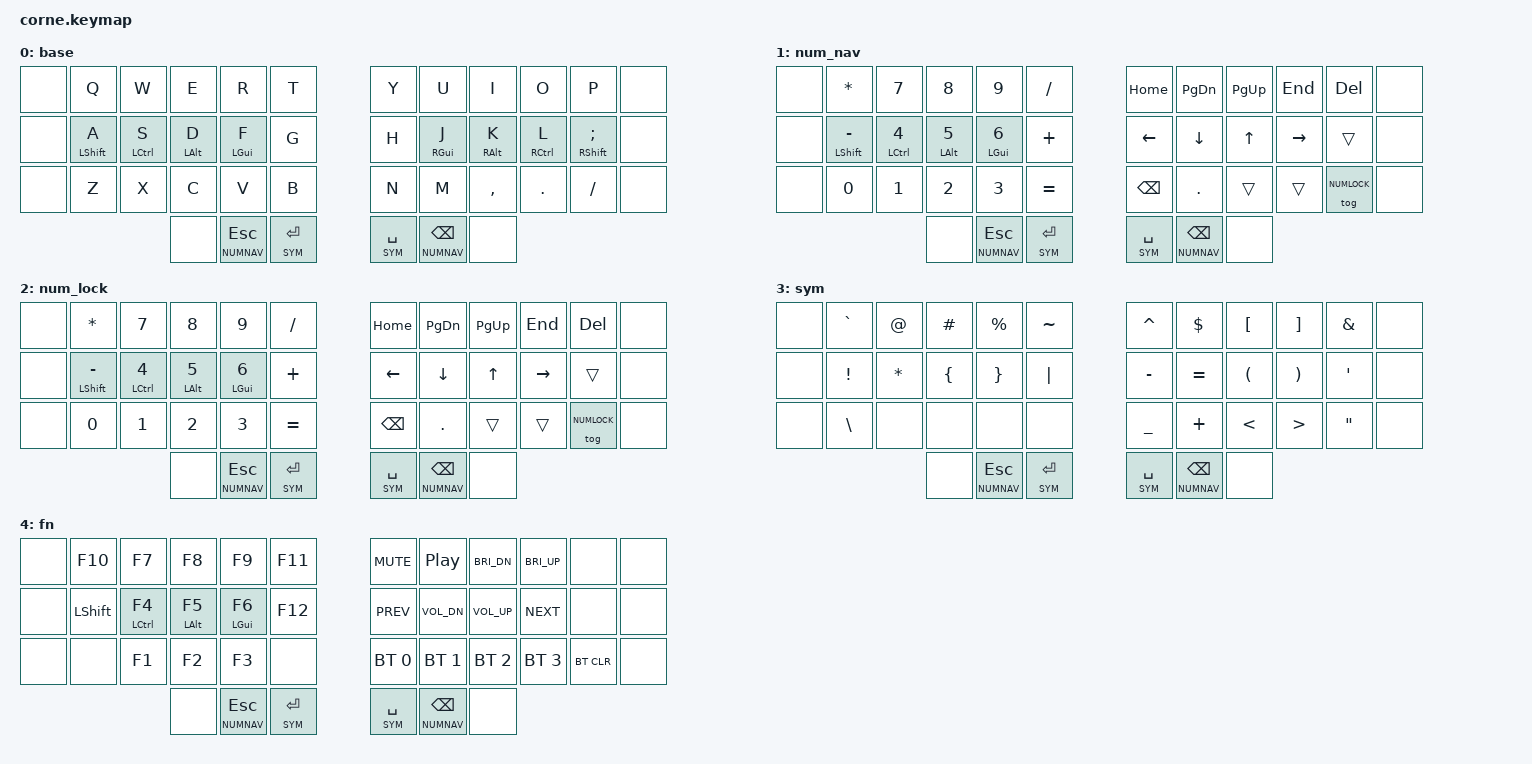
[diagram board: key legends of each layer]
/*
 * Copyright (c) 2020 The ZMK Contributors
 *
 * SPDX-License-Identifier: MIT
 */

#include <behaviors.dtsi>
#include <dt-bindings/zmk/keys.h>
#include <dt-bindings/zmk/bt.h>

#define BASE    0
#define NUMNAV  1
#define NUMLOCK 2   // locked copy of NUMNAV; survives releasing the thumb
#define SYM     3
#define FN      4

&mt {
    tapping-term-ms = <200>;
    flavor = "tap-preferred";
    quick-tap-ms = <0>;
};

// Thumb layer-taps: another key pressed while held -> layer; tap-then-hold -> repeat
&lt {
    tapping-term-ms = <200>;
    flavor = "balanced";
    quick-tap-ms = <175>;
};

/ {
    combos {
        compatible = "zmk,combos";
        combo_caps {
            timeout-ms = <75>;
            key-positions = <14 21>;
            bindings = <&caps_word>;
        };
        combo_tab_thumbs {
            timeout-ms = <50>;
            key-positions = <37 40>;        // Esc + Bksp (both middle thumbs)
            bindings = <&kp TAB>;           // no require-prior-idle: Tab must work right after typing
        };
    };

    conditional_layers {
        compatible = "zmk,conditional-layers";
        tri_layer {
            if-layers = <NUMNAV SYM>;
            then-layer = <FN>;
        };
        tri_layer_locked {
            if-layers = <NUMLOCK SYM>;
            then-layer = <FN>;
        };
    };

    keymap {
        compatible = "zmk,keymap";

        base {
            bindings = <
   &none &kp Q        &kp W       &kp E       &kp R       &kp T        &kp Y  &kp U       &kp I       &kp O        &kp P          &none
   &none &mt LSHFT A  &mt LCTRL S &mt LALT D  &mt LGUI F  &kp G        &kp H  &mt RGUI J  &mt RALT K  &mt RCTRL L  &mt RSHFT SEMI &none
   &none &kp Z        &kp X       &kp C       &kp V       &kp B        &kp N  &kp M       &kp COMMA   &kp DOT      &kp FSLH       &none
                       &none &lt NUMNAV ESC &lt SYM RET        &lt SYM SPACE &lt NUMNAV BSPC &none
            >;
        };

        num_nav {
            bindings = <
   &none &kp ASTRK        &kp N7        &kp N8       &kp N9       &kp FSLH     &kp HOME  &kp PG_DN &kp PG_UP &kp END   &kp DEL &none
   &none &mt LSHFT MINUS  &mt LCTRL N4  &mt LALT N5  &mt LGUI N6  &kp PLUS     &kp LEFT  &kp DOWN  &kp UP    &kp RIGHT &trans  &none
   &none &kp N0           &kp N1        &kp N2       &kp N3       &kp EQUAL    &kp BSPC  &kp DOT   &trans    &trans    &tog NUMLOCK &none
                       &none &lt NUMNAV ESC &lt SYM RET        &lt SYM SPACE &lt NUMNAV BSPC &none
            >;
        };

        // Identical to num_nav. Kept as its own layer so the lock isn't cleared
        // when the Esc/Bksp hold is released. Edit both layers together.
        num_lock {
            bindings = <
   &none &kp ASTRK        &kp N7        &kp N8       &kp N9       &kp FSLH     &kp HOME  &kp PG_DN &kp PG_UP &kp END   &kp DEL &none
   &none &mt LSHFT MINUS  &mt LCTRL N4  &mt LALT N5  &mt LGUI N6  &kp PLUS     &kp LEFT  &kp DOWN  &kp UP    &kp RIGHT &trans  &none
   &none &kp N0           &kp N1        &kp N2       &kp N3       &kp EQUAL    &kp BSPC  &kp DOT   &trans    &trans    &tog NUMLOCK &none
                       &none &lt NUMNAV ESC &lt SYM RET        &lt SYM SPACE &lt NUMNAV BSPC &none
            >;
        };

        sym {
            bindings = <
   &none  &kp GRAVE  &kp AT    &kp HASH  &kp PRCNT &kp TILDE     &kp CARET &kp DLLR  &kp LBKT  &kp RBKT  &kp AMPS &none
   &none  &kp EXCL   &kp ASTRK &kp LBRC  &kp RBRC  &kp PIPE      &kp MINUS &kp EQUAL &kp LPAR  &kp RPAR  &kp SQT  &none
   &none  &kp BSLH   &none     &none     &none     &none         &kp UNDER &kp PLUS  &kp LT    &kp GT    &kp DQT  &none
                       &none &lt NUMNAV ESC &lt SYM RET        &lt SYM SPACE &lt NUMNAV BSPC &none
            >;
        };

        fn {
            bindings = <
   &none &kp F10    &kp F7        &kp F8       &kp F9       &kp F11      &kp C_MUTE    &kp C_PP      &kp C_BRI_DN  &kp C_BRI_UP  &none      &none
   &none &kp LSHFT  &mt LCTRL F4  &mt LALT F5  &mt LGUI F6  &kp F12      &kp C_PREV    &kp C_VOL_DN  &kp C_VOL_UP  &kp C_NEXT    &none      &none
   &none &none      &kp F1        &kp F2       &kp F3       &none        &bt BT_SEL 0  &bt BT_SEL 1  &bt BT_SEL 2  &bt BT_SEL 3  &bt BT_CLR &none
                       &none &lt NUMNAV ESC &lt SYM RET        &lt SYM SPACE &lt NUMNAV BSPC &none
            >;
        };
    };
};
